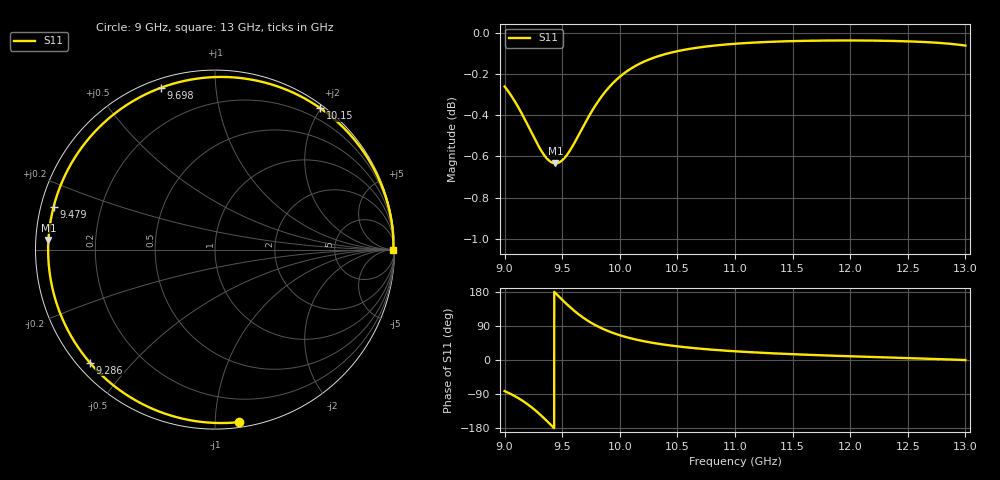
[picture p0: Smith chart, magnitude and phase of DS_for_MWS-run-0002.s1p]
! TOUCHSTONE file generated by CST DESIGN STUDIO
! Date and time: Tue Feb  4 12:46:47 2025
! Project name: C:\Work\MatlabApps\UnitCellOptimizationMatlab\CST\unitcell.cst
! Tree item: Tasks\Sweep1\SPara1\S-Parameters
! Header version: 2024
! Port assignment regex: !\s*Touchstone port\s*([0-9]+)\s*=\s*(CST MWS port|CST DES external port|CST DES block port)\s*(.+)\s* \(\"(.*)\"\)(\s*mode\s*([0-9]+))?.*
! Touchstone port assignment:
! Touchstone port 1 = CST DES external port 1 ("")
# GHz S MA R 50
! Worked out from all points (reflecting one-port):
!   4001 points, 9 GHz to 13 GHz, reference 50 ohm
!   lowest |S11| = -0.6 dB at 9.441 GHz (marker M1), VSWR 27.43, Z = 1.82 + j1.44 ohm
!   phase of S11 starts at -82 deg and turns -278 deg over the sweep
!   S11 on the Smith chart (normalised r, x): 9 GHz: 0.03, -1.15; 9.286 GHz: 0.04, -0.38; 9.479 GHz: 0.04, +0.13; 9.698 GHz: 0.04, +0.72; 10.15 GHz: 0.04, +1.99; 13 GHz: open
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9  0.9705 -82.1
9.087  0.9626 -95.1
9.159  0.9548 -108.3
9.224  0.947 -122.4
9.286  0.9396 -137.9
9.33  0.9351 -150.1
9.369  0.9321 -161.4
9.405  0.9303 -172.3
9.441  0.9297 176.7
9.479  0.9303 165.1
9.5  0.9313 158.9
9.551  0.9349 144.2
9.599  0.9396 131.3
9.647  0.9449 119.6
9.698  0.9508 108.5
9.766  0.9581 95.6
9.847  0.9655 83.0
9.921  0.9711 73.6
10  0.9758 65.4
10.148  0.9822 53.4
10.307  0.9865 44.2
10.5  0.9899 36.0
10.723  0.9923 29.2
11  0.994 23.0
11.5  0.9955 15.3
12  0.9958 9.8
12.5  0.9953 5.1
13  0.993 -0.2
